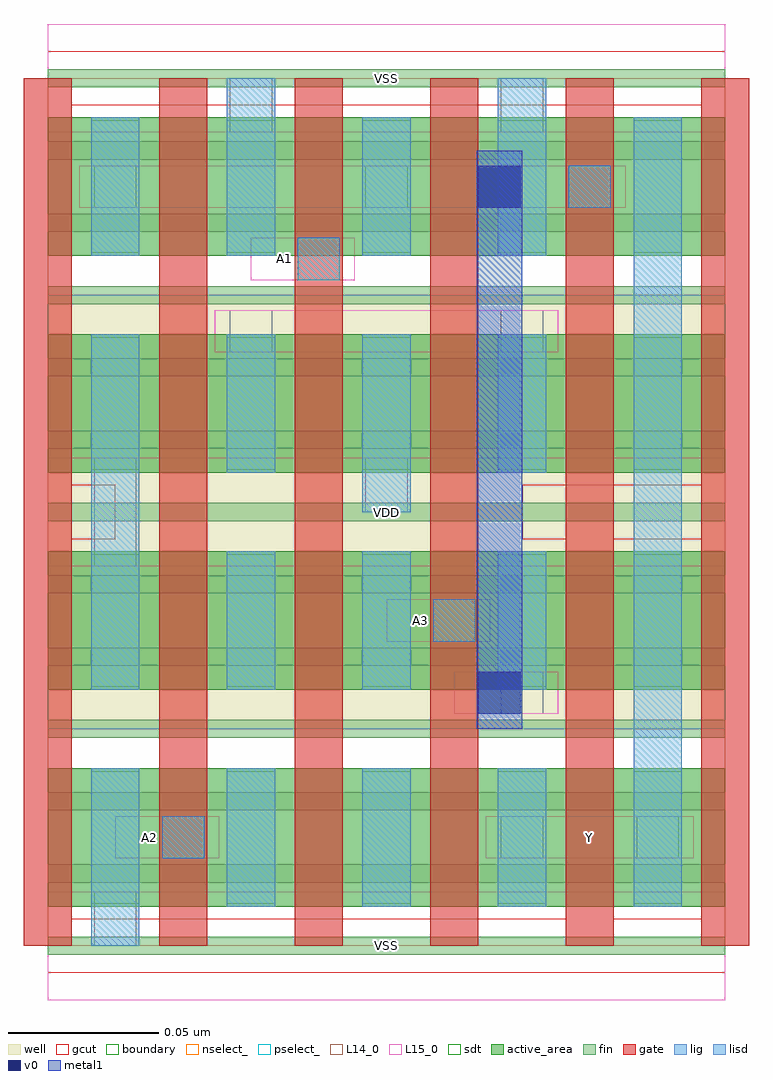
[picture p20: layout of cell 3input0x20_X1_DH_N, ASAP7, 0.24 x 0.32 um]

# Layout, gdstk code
import gdstk
lib = gdstk.Library(unit=1e-6, precision=2.5e-10)
def R(c, l, rs):  # rectangles x0, y0, x1, y1
    for r in rs: c.add(gdstk.rectangle(r[:2], r[2:], *l))
def A(c, l, x, y, w, h, nx, ny, dx, dy):  # array of equal rectangles
    R(c, l, [(x+i*dx, y+j*dy, x+i*dx+w, y+j*dy+h) for i in range(nx) for j in range(ny)])
def P(c, l, *ps):  # polygons
    for p in ps: c.add(gdstk.Polygon(p, *l))
well = (1, 0)
fin = (2, 0)
gate = (7, 0)
gcut = (10, 0)
active_area = (11, 0)
nselect_ = (12, 0)
pselect_ = (13, 0)
L14_0 = (14, 0)
L15_0 = (15, 0)
lig = (16, 0)
lisd = (17, 0)
v0 = (18, 0)
metal1 = (19, 0)
sdt = (88, 0)
boundary = (100, 0)

c_3input0x20_x1_dh_n = lib.new_cell('3input0x20_X1_DH_N')
R(c_3input0x20_x1_dh_n, well, [(0,0.072,0.225,0.144), (0,0.144,0.225,0.216)])
A(c_3input0x20_x1_dh_n, fin, 0, -0.003, 0.225, 0.006, 1, 13, 0, 0.024)
A(c_3input0x20_x1_dh_n, gate, -0.008, 0, 0.016, 0.288, 6, 1, 0.045, 0)
P(c_3input0x20_x1_dh_n, gcut, [(0,-0.009),(0,0),(-0.008,0),(-0.008,0.279),(0.008,0.279),(0.008,0.153),(0.0225,0.153),(0.0225,0.135),(0.008,0.135),(0.008,0.009),(0.172,0.009),(0.172,0.135),(0.188,0.135),(0.188,0.009),(0.217,0.009),(0.217,0.135),(0.1575,0.135),(0.1575,0.153),(0.217,0.153),(0.217,0.279),(-0.008,0.279),(-0.008,0.288),(0,0.288),(0,0.297),(0.225,0.297),(0.225,0.288),(0.233,0.288),(0.233,0),(0.225,0),(0.225,-0.009)])
A(c_3input0x20_x1_dh_n, active_area, 0, 0.013, 0.225, 0.046, 1, 4, 0, 0.072)
R(c_3input0x20_x1_dh_n, nselect_, [(0,0,0.225,0.072), (0,0.216,0.225,0.288)])
R(c_3input0x20_x1_dh_n, pselect_, [(0,0.072,0.225,0.144), (0,0.144,0.225,0.216)])
R(c_3input0x20_x1_dh_n, L14_0, [(0.0155,0,0.0295,0.018), (0.038,0.029,0.052,0.043), (0.1505,0.029,0.1645,0.043), (0.1955,0.029,0.2095,0.043), (0.1505,0.077,0.1645,0.091), (0.128,0.101,0.142,0.115), (0.0155,0.126,0.0295,0.144), (0.0155,0.144,0.0295,0.162), (0.1055,0.144,0.1195,0.162), (0.0605,0.197,0.0745,0.211), (0.1505,0.197,0.1645,0.211), (0.083,0.221,0.097,0.235), (0.0155,0.245,0.0295,0.259), (0.1055,0.245,0.1195,0.259), (0.173,0.245,0.187,0.259), (0.0605,0.27,0.0745,0.288), (0.1505,0.27,0.1645,0.288)])
A(c_3input0x20_x1_dh_n, L15_0, 0, -0.018, 0.225, 0.036, 1, 3, 0, 0.144)
R(c_3input0x20_x1_dh_n, L15_0, [(0.0225,0.029,0.057,0.043), (0.1455,0.029,0.2145,0.043), (0.135,0.077,0.1695,0.091), (0.1125,0.101,0.147,0.115), (0.0555,0.197,0.1695,0.211), (0.0675,0.221,0.102,0.235), (0.0105,0.245,0.192,0.259)])
R(c_3input0x20_x1_dh_n, lig, [(0.038,0.029,0.052,0.043), (0.128,0.101,0.142,0.115), (0.083,0.221,0.097,0.235), (0.173,0.245,0.187,0.259)])
A(c_3input0x20_x1_dh_n, lisd, 0.0595, 0.013, 0.016, 0.046, 3, 2, 0.045, 0.072)
R(c_3input0x20_x1_dh_n, lisd, [(0.0145,0,0.0305,0.059), (0.1945,0.013,0.2105,0.275), (0.0145,0.085,0.0305,0.203), (0.1045,0.144,0.1205,0.203), (0.0595,0.157,0.0755,0.203), (0.1495,0.157,0.1655,0.203), (0.0145,0.229,0.0305,0.275), (0.0595,0.229,0.0755,0.288), (0.1045,0.229,0.1205,0.275), (0.1495,0.229,0.1655,0.288)])
R(c_3input0x20_x1_dh_n, v0, [(0.143,0.077,0.157,0.091), (0.143,0.245,0.157,0.259)])
R(c_3input0x20_x1_dh_n, metal1, [(0.1425,0.072,0.1575,0.264)])
A(c_3input0x20_x1_dh_n, sdt, 0.0145, 0.014, 0.016, 0.044, 5, 4, 0.045, 0.072)
R(c_3input0x20_x1_dh_n, boundary, [(0,0,0.225,0.288)])
c_3input0x20_x1_dh_n.add(gdstk.Label('A2', (0.0338,0.036), layer=15, texttype=251))
c_3input0x20_x1_dh_n.add(gdstk.Label('VSS', (0.1125,0), layer=15, texttype=251))
c_3input0x20_x1_dh_n.add(gdstk.Label('VDD', (0.1125,0.144), layer=15, texttype=251))
c_3input0x20_x1_dh_n.add(gdstk.Label('VDD', (0.1125,0.144), layer=15, texttype=251))
c_3input0x20_x1_dh_n.add(gdstk.Label('VSS', (0.1125,0.288), layer=15, texttype=251))
c_3input0x20_x1_dh_n.add(gdstk.Label('Y', (0.18,0.036), layer=15, texttype=251))
c_3input0x20_x1_dh_n.add(gdstk.Label('VSS', (0.1125,0), layer=15, texttype=251))
c_3input0x20_x1_dh_n.add(gdstk.Label('VDD', (0.1125,0.144), layer=15, texttype=251))
c_3input0x20_x1_dh_n.add(gdstk.Label('VDD', (0.1125,0.144), layer=15, texttype=251))
c_3input0x20_x1_dh_n.add(gdstk.Label('VSS', (0.1125,0.288), layer=15, texttype=251))
c_3input0x20_x1_dh_n.add(gdstk.Label('A3', (0.1238,0.108), layer=15, texttype=251))
c_3input0x20_x1_dh_n.add(gdstk.Label('VSS', (0.1125,0), layer=15, texttype=251))
c_3input0x20_x1_dh_n.add(gdstk.Label('VDD', (0.1125,0.144), layer=15, texttype=251))
c_3input0x20_x1_dh_n.add(gdstk.Label('VDD', (0.1125,0.144), layer=15, texttype=251))
c_3input0x20_x1_dh_n.add(gdstk.Label('VSS', (0.1125,0.288), layer=15, texttype=251))
c_3input0x20_x1_dh_n.add(gdstk.Label('A1', (0.0788,0.228), layer=15, texttype=251))
c_3input0x20_x1_dh_n.add(gdstk.Label('VSS', (0.1125,0), layer=15, texttype=251))
c_3input0x20_x1_dh_n.add(gdstk.Label('VDD', (0.1125,0.144), layer=15, texttype=251))
c_3input0x20_x1_dh_n.add(gdstk.Label('VDD', (0.1125,0.144), layer=15, texttype=251))
c_3input0x20_x1_dh_n.add(gdstk.Label('VSS', (0.1125,0.288), layer=15, texttype=251))
c_3input0x20_x1_dh_n.add(gdstk.Label('VSS', (0.1125,0), layer=3, texttype=251))
c_3input0x20_x1_dh_n.add(gdstk.Label('VSS', (0.1125,0.288), layer=3, texttype=251))
c_3input0x20_x1_dh_n.add(gdstk.Label('VSS', (0.1125,0), layer=3, texttype=251))
c_3input0x20_x1_dh_n.add(gdstk.Label('VSS', (0.1125,0.288), layer=3, texttype=251))
c_3input0x20_x1_dh_n.add(gdstk.Label('VSS', (0.1125,0), layer=3, texttype=251))
c_3input0x20_x1_dh_n.add(gdstk.Label('VSS', (0.1125,0.288), layer=3, texttype=251))
c_3input0x20_x1_dh_n.add(gdstk.Label('VSS', (0.1125,0), layer=3, texttype=251))
c_3input0x20_x1_dh_n.add(gdstk.Label('VSS', (0.1125,0.288), layer=3, texttype=251))
c_3input0x20_x1_dh_n.add(gdstk.Label('VDD', (0.1125,0.144), layer=1, texttype=251))
c_3input0x20_x1_dh_n.add(gdstk.Label('VDD', (0.1125,0.144), layer=1, texttype=251))
c_3input0x20_x1_dh_n.add(gdstk.Label('VDD', (0.1125,0.144), layer=1, texttype=251))
c_3input0x20_x1_dh_n.add(gdstk.Label('VDD', (0.1125,0.144), layer=1, texttype=251))
c_3input0x20_x1_dh_n.add(gdstk.Label('VDD', (0.1125,0.144), layer=1, texttype=251))
c_3input0x20_x1_dh_n.add(gdstk.Label('VDD', (0.1125,0.144), layer=1, texttype=251))
c_3input0x20_x1_dh_n.add(gdstk.Label('VDD', (0.1125,0.144), layer=1, texttype=251))
c_3input0x20_x1_dh_n.add(gdstk.Label('VDD', (0.1125,0.144), layer=1, texttype=251))

lib.write_gds('3input0x20_X1_DH_N.gds')
